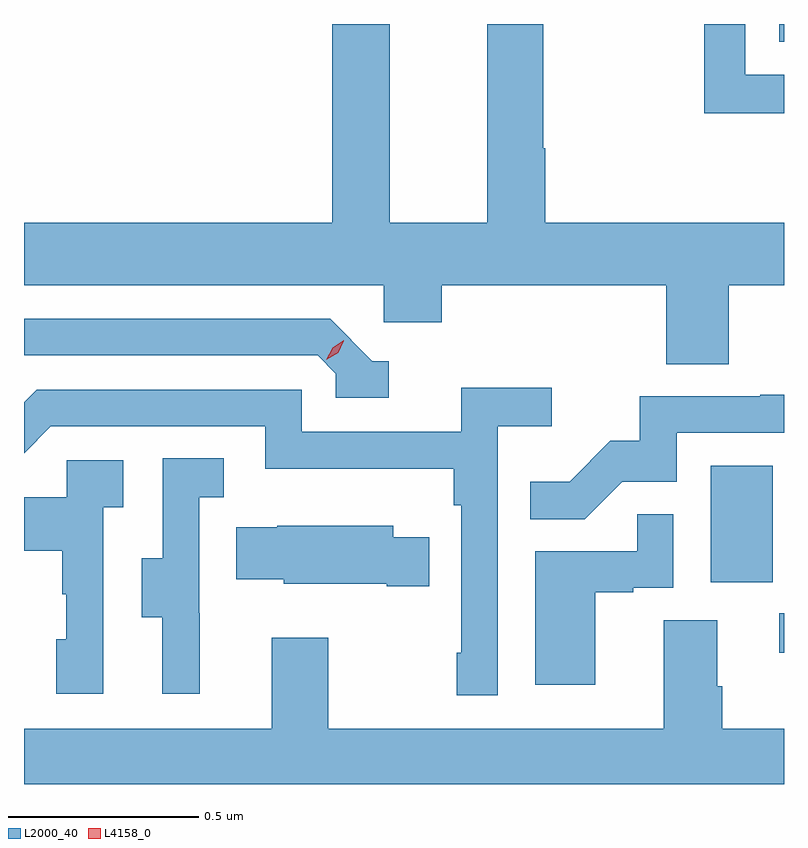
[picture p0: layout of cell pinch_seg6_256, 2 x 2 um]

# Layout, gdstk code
import gdstk
lib = gdstk.Library(unit=1e-6, precision=1e-09)
def R(c, l, rs):  # rectangles x0, y0, x1, y1
    for r in rs: c.add(gdstk.rectangle(r[:2], r[2:], *l))
def P(c, l, *ps):  # polygons
    for p in ps: c.add(gdstk.Polygon(p, *l))
L2000_40 = (2000, 40)
L4158_0 = (4158, 0)

pinch_seg6_256 = lib.new_cell('pinch_seg6_256')
R(pinch_seg6_256, L2000_40, [(1132.575,921.06,1132.587,921.165), (1132.394,921.246,1132.558,921.553), (1132.574,922.668,1132.587,922.715)])
P(pinch_seg6_256, L2000_40, [(1132.442,922.028),(1132.587,922.028),(1132.587,922.192),(1131.959,922.192),(1131.959,922.388),(1131.954,922.388),(1131.954,922.715),(1131.806,922.715),(1131.806,922.192),(1131.55,922.192),(1131.55,922.715),(1131.398,922.715),(1131.398,922.192),(1130.587,922.192),(1130.587,922.028),(1131.534,922.028),(1131.534,921.93),(1131.686,921.93),(1131.686,922.028),(1132.277,922.028),(1132.277,921.82),(1132.442,921.82)],
  [(1132.587,922.581),(1132.485,922.581),(1132.485,922.715),(1132.377,922.715),(1132.377,922.48),(1132.587,922.48)],
  [(1131.547,921.828),(1131.504,921.828),(1131.393,921.939),(1130.587,921.939),(1130.587,921.843),(1131.36,921.843),(1131.408,921.795),(1131.408,921.732),(1131.547,921.732)],
  [(1131.834,921.656),(1131.976,921.656),(1131.976,921.758),(1131.737,921.758),(1131.737,921.642),(1131.318,921.642),(1131.318,921.753),(1130.621,921.753),(1130.587,921.719),(1130.587,921.586),(1130.658,921.657),(1131.222,921.657),(1131.222,921.545),(1131.718,921.545),(1131.718,921.449),(1131.738,921.449),(1131.738,921.061),(1131.726,921.061),(1131.726,920.949),(1131.834,920.949)],
  [(1132.161,921.51),(1132.305,921.51),(1132.305,921.639),(1132.587,921.639),(1132.587,921.74),(1132.525,921.74),(1132.525,921.735),(1132.207,921.735),(1132.207,921.618),(1132.13,921.618),(1132.023,921.511),(1131.919,921.511),(1131.919,921.412),(1132.063,921.412)],
  [(1131.05,921.165),(1131.048,921.165),(1131.048,921.469),(1131.112,921.469),(1131.112,921.572),(1130.952,921.572),(1130.952,921.309),(1130.897,921.309),(1130.897,921.154),(1130.951,921.154),(1130.951,920.952),(1131.05,920.952)],
  [(1130.796,921.443),(1130.848,921.443),(1130.848,921.567),(1130.7,921.567),(1130.7,921.469),(1130.587,921.469),(1130.587,921.329),(1130.688,921.329),(1130.688,921.215),(1130.698,921.215),(1130.698,921.096),(1130.672,921.096),(1130.672,920.952),(1130.796,920.952)],
  [(1132.09,921.219),(1132.19,921.219),(1132.19,921.231),(1132.296,921.231),(1132.296,921.425),(1132.201,921.425),(1132.201,921.327),(1131.932,921.327),(1131.932,920.976),(1132.09,920.976)],
  [(1131.653,921.364),(1131.559,921.364),(1131.559,921.394),(1131.253,921.394),(1131.253,921.391),(1131.145,921.391),(1131.145,921.254),(1131.27,921.254),(1131.27,921.242),(1131.542,921.242),(1131.542,921.235),(1131.653,921.235)],
  [(1132.587,920.86),(1132.424,920.86),(1132.424,920.972),(1132.411,920.972),(1132.411,921.146),(1132.271,921.146),(1132.271,920.86),(1131.387,920.86),(1131.387,921.1),(1131.239,921.1),(1131.239,920.86),(1130.587,920.86),(1130.587,920.715),(1132.587,920.715)])
P(pinch_seg6_256, L4158_0, [(1131.383,921.831),(1131.383,921.831),(1131.399,921.863),(1131.429,921.883),(1131.429,921.883),(1131.429,921.882),(1131.414,921.85),(1131.383,921.831)])

lib.write_gds('pinch_seg6_256.gds')
